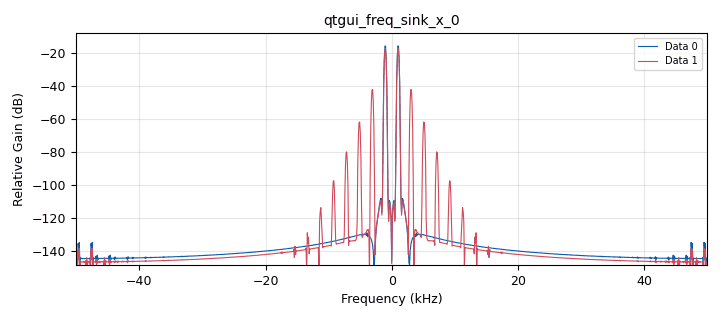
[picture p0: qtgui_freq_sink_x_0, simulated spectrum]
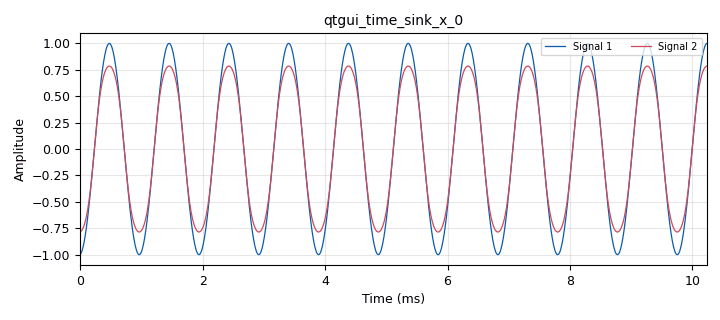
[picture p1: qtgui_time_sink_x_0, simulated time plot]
options:
  parameters:
    generate_options: qt_gui
    id: ComplexPlot
    output_language: python
    title: ComplexPlot
  states: {}

blocks:
- name: freq
  id: variable_qtgui_range
  parameters:
    start: '-100e3'
    step: '1'
    stop: 100e3
    value: '1024'
  states: {}
- name: samp_rate
  id: variable
  parameters:
    value: 100e3
  states: {}
- name: analog_sig_source_x_0
  id: analog_sig_source_x
  parameters:
    amp: '1'
    freq: freq
    offset: '0'
    phase: '0'
    samp_rate: samp_rate
    type: float
    waveform: analog.GR_COS_WAVE
  states: {}
- name: blocks_throttle2_0
  id: blocks_throttle2
  parameters:
    samples_per_second: samp_rate
    type: float
  states: {}
- name: blocks_throttle2_1
  id: blocks_throttle2
  parameters:
    samples_per_second: samp_rate
    type: float
  states: {}
- name: blocks_transcendental_0
  id: blocks_transcendental
  parameters:
    name: atan
    type: float
  states: {}
- name: qtgui_freq_sink_x_0
  id: qtgui_freq_sink_x
  parameters:
    autoscale: 'True'
    bw: samp_rate
    ctrlpanel: 'True'
    fc: '0'
    fftsize: '1024'
    grid: 'True'
    nconnections: '2'
    type: float
  states: {}
- name: qtgui_time_sink_x_0
  id: qtgui_time_sink_x
  parameters:
    autoscale: 'True'
    ctrlpanel: 'True'
    grid: 'True'
    nconnections: '2'
    size: '1024'
    srate: samp_rate
    type: float
  states: {}

connections:
- [analog_sig_source_x_0, '0', blocks_throttle2_0, '0']
- [analog_sig_source_x_0, '0', blocks_transcendental_0, '0']
- [blocks_throttle2_0, '0', qtgui_freq_sink_x_0, '0']
- [blocks_throttle2_0, '0', qtgui_time_sink_x_0, '0']
- [blocks_throttle2_1, '0', qtgui_freq_sink_x_0, '1']
- [blocks_throttle2_1, '0', qtgui_time_sink_x_0, '1']
- [blocks_transcendental_0, '0', blocks_throttle2_1, '0']

metadata:
  file_format: 1
  grc_version: 3.10.9.2
